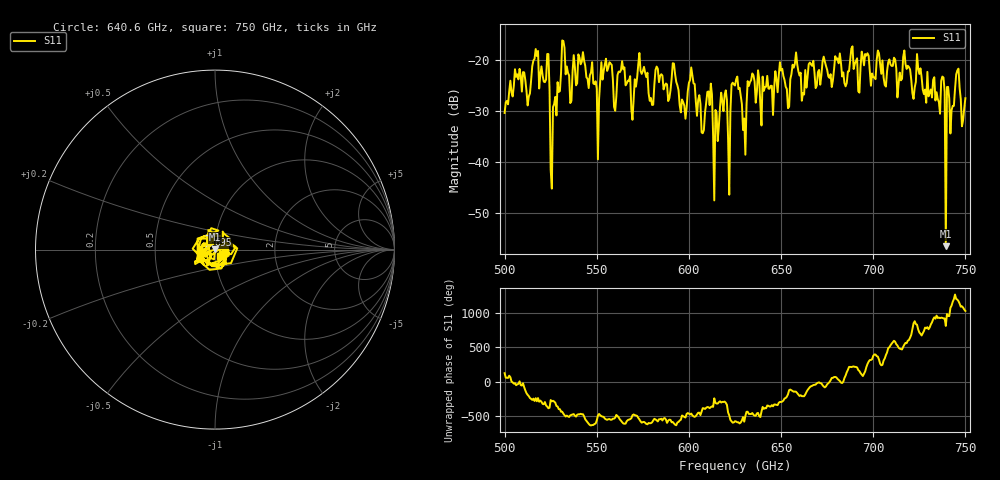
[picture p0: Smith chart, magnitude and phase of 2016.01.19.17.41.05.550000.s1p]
!Created with skrf (http://scikit-rf.org).
# GHz S RI R 50.0
!freq ReS11 ImS11
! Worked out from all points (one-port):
!   401 points, 500 GHz to 750 GHz, reference 50 ohm
!   lowest |S11| = -56.5 dB at 739.4 GHz (marker M1), VSWR 1.00, Z = 50 + j0.15 ohm
!   |S11| at or under -10 dB: start of sweep to end of sweep
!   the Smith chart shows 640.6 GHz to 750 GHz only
!   S11 on the Smith chart (normalised r, x): 640.6 GHz: 1.08, -0.07; 695 GHz: 0.92, +0.15; 750 GHz: 1.05, -0.07
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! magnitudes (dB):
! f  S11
! 500 GHz  -30.4
! 506.9 GHz  -22.8
! 513.1 GHz  -27.1
! 516.9 GHz  -17.8
! 523.1 GHz  -18.8
! 526.2 GHz  -29.2
! 531.2 GHz  -16.1
! 550 GHz  -25.6
! 553.8 GHz  -22.1
! 562.5 GHz  -22.4
! 593.8 GHz  -24.9
! 601.9 GHz  -22.9
! 607.5 GHz  -34.3
! 611.2 GHz  -28.8
! 614.4 GHz  -29.8
! 618.8 GHz  -30.0
! 621.9 GHz  -46.4
! 625 GHz  -25.0
! 630 GHz  -31.4
! 633.1 GHz  -24.3
! 640.6 GHz  -26.0
! 656.2 GHz  -20.9
! 687.5 GHz  -20.0
! 695 GHz  -21.0
! 718.8 GHz  -21.1
! 739.4 GHz  -56.5
! 745.6 GHz  -22.0
! 750 GHz  -27.5
